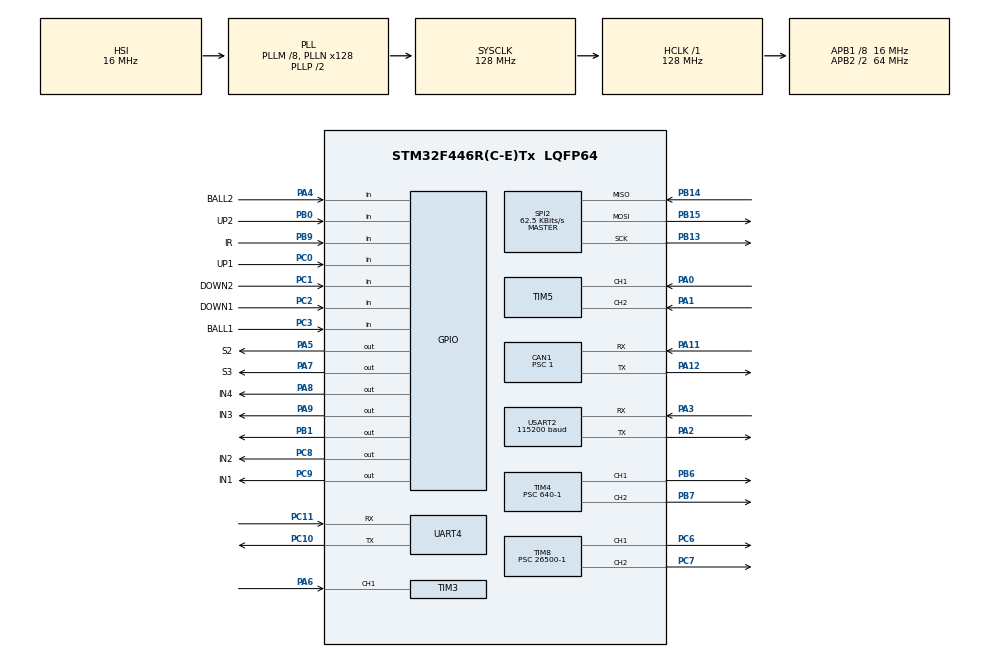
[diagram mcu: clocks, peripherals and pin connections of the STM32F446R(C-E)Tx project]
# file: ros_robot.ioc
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CAN1.BS1=CAN_BS1_13TQ
CAN1.BS2=CAN_BS2_2TQ
CAN1.CalculateBaudRate=1000000
CAN1.CalculateTimeBit=1000
CAN1.CalculateTimeQuantum=62.5
CAN1.NART=ENABLE
CAN1.Prescaler=1
Dma.Request0=USART2_RX
Dma.Request1=USART2_TX
Dma.Request2=UART4_RX
Dma.Request3=UART4_TX
Dma.UART4_RX.2.Direction=DMA_PERIPH_TO_MEMORY
Dma.UART4_RX.2.FIFOMode=DMA_FIFOMODE_DISABLE
Dma.UART4_RX.2.Instance=DMA1_Stream2
Dma.UART4_RX.2.MemDataAlignment=DMA_MDATAALIGN_BYTE
Dma.UART4_RX.2.MemInc=DMA_MINC_ENABLE
Dma.UART4_RX.2.Mode=DMA_CIRCULAR
Dma.UART4_RX.2.PeriphDataAlignment=DMA_PDATAALIGN_BYTE
Dma.UART4_RX.2.PeriphInc=DMA_PINC_DISABLE
Dma.UART4_RX.2.Priority=DMA_PRIORITY_HIGH
Dma.UART4_TX.3.Direction=DMA_MEMORY_TO_PERIPH
Dma.UART4_TX.3.FIFOMode=DMA_FIFOMODE_DISABLE
Dma.UART4_TX.3.Instance=DMA1_Stream4
Dma.UART4_TX.3.MemDataAlignment=DMA_MDATAALIGN_BYTE
Dma.UART4_TX.3.MemInc=DMA_MINC_ENABLE
Dma.UART4_TX.3.Mode=DMA_NORMAL
Dma.UART4_TX.3.PeriphDataAlignment=DMA_PDATAALIGN_BYTE
Dma.UART4_TX.3.PeriphInc=DMA_PINC_DISABLE
Dma.UART4_TX.3.Priority=DMA_PRIORITY_HIGH
Dma.USART2_RX.0.Direction=DMA_PERIPH_TO_MEMORY
Dma.USART2_RX.0.FIFOMode=DMA_FIFOMODE_DISABLE
Dma.USART2_RX.0.Instance=DMA1_Stream5
Dma.USART2_RX.0.MemDataAlignment=DMA_MDATAALIGN_BYTE
Dma.USART2_RX.0.MemInc=DMA_MINC_ENABLE
Dma.USART2_RX.0.Mode=DMA_CIRCULAR
Dma.USART2_RX.0.PeriphDataAlignment=DMA_PDATAALIGN_BYTE
Dma.USART2_RX.0.PeriphInc=DMA_PINC_DISABLE
Dma.USART2_RX.0.Priority=DMA_PRIORITY_HIGH
Dma.USART2_TX.1.Direction=DMA_MEMORY_TO_PERIPH
Dma.USART2_TX.1.FIFOMode=DMA_FIFOMODE_DISABLE
Dma.USART2_TX.1.Instance=DMA1_Stream6
Dma.USART2_TX.1.MemDataAlignment=DMA_MDATAALIGN_BYTE
Dma.USART2_TX.1.MemInc=DMA_MINC_ENABLE
Dma.USART2_TX.1.Mode=DMA_NORMAL
Dma.USART2_TX.1.PeriphDataAlignment=DMA_PDATAALIGN_BYTE
Dma.USART2_TX.1.PeriphInc=DMA_PINC_DISABLE
Dma.USART2_TX.1.Priority=DMA_PRIORITY_HIGH
FREERTOS.INCLUDE_vTaskDelayUntil=1
FREERTOS.Tasks01=WheelControl,0,128,Wheel_task,Default,NULL,Dynamic,NULL,NULL;Joystick,0,2048,task2_joystick,Default,NULL,Dynamic,NULL,NULL;up_down_control,0,512,DC_motor,Default,NULL,Dynamic,NULL,NULL;Target_pos,0,512,Colorcheck,Default,NULL,Dynamic,NULL,NULL;Color,0,128,StartTask05,Default,NULL,Dynamic,NULL,NULL
FREERTOS.configMAX_PRIORITIES=7
Mcu.Family=STM32F4
Mcu.Name=STM32F446R(C-E)Tx
Mcu.Package=LQFP64
NVIC.CAN1_RX0_IRQn=true\:5\:0\:false\:false\:true\:true\:true\:true\:true
NVIC.DMA1_Stream2_IRQn=true\:5\:0\:false\:false\:true\:true\:false\:true\:true
NVIC.DMA1_Stream4_IRQn=true\:5\:0\:false\:false\:true\:true\:false\:true\:true
NVIC.DMA1_Stream5_IRQn=true\:5\:0\:false\:false\:true\:true\:false\:true\:true
NVIC.DMA1_Stream6_IRQn=true\:5\:0\:false\:false\:true\:true\:false\:true\:true
NVIC.PriorityGroup=NVIC_PRIORITYGROUP_4
NVIC.TIM1_UP_TIM10_IRQn=true\:15\:0\:true\:false\:true\:false\:false\:true\:true
NVIC.TIM3_IRQn=true\:5\:0\:false\:false\:true\:true\:true\:true\:true
NVIC.TimeBase=TIM1_UP_TIM10_IRQn
NVIC.TimeBaseIP=TIM1
NVIC.UART4_IRQn=true\:5\:0\:false\:false\:true\:true\:true\:true\:true
NVIC.USART2_IRQn=true\:5\:0\:false\:false\:true\:true\:true\:true\:true
PA0-WKUP.Signal=S_TIM5_CH1
PA1.Signal=S_TIM5_CH2
PA11.Mode=CAN_Activate
PA11.Signal=CAN1_RX
PA12.Mode=CAN_Activate
PA12.Signal=CAN1_TX
PA13.GPIO_Label=TMS
PA13.Mode=Serial_Wire
PA13.Signal=SYS_JTMS-SWDIO
PA14.GPIO_Label=TCK
PA14.Mode=Serial_Wire
PA14.Signal=SYS_JTCK-SWCLK
PA2.GPIO_ModeDefaultPP=GPIO_MODE_AF_PP
PA2.GPIO_PuPd=GPIO_NOPULL
PA2.GPIO_Speed=GPIO_SPEED_FREQ_VERY_HIGH
PA2.Mode=Asynchronous
PA2.Signal=USART2_TX
PA3.GPIO_ModeDefaultPP=GPIO_MODE_AF_PP
PA3.GPIO_PuPd=GPIO_NOPULL
PA3.GPIO_Speed=GPIO_SPEED_FREQ_VERY_HIGH
PA3.Mode=Asynchronous
PA3.Signal=USART2_RX
PA4.GPIO_Label=BALL2
PA4.Signal=GPIO_Input
PA5.GPIO_Label=S2
PA5.Signal=GPIO_Output
PA6.Signal=S_TIM3_CH1
PA7.GPIO_Label=S3
PA7.Signal=GPIO_Output
PA8.GPIO_Label=IN4
PA8.Signal=GPIO_Output
PA9.GPIO_Label=IN3
PA9.Signal=GPIO_Output
PB0.GPIO_Label=UP2
PB0.Signal=GPIO_Input
PB1.Signal=GPIO_Output
PB13.Mode=Full_Duplex_Master
PB13.Signal=SPI2_SCK
PB14.GPIO_PuPd=GPIO_PULLUP
PB14.Mode=Full_Duplex_Master
PB14.Signal=SPI2_MISO
PB15.Mode=Full_Duplex_Master
PB15.Signal=SPI2_MOSI
PB3.GPIO_Label=SWO
PB3.Signal=SYS_JTDO-SWO
PB6.Signal=S_TIM4_CH1
PB7.Signal=S_TIM4_CH2
PB8.Signal=S_TIM2_CH1_ETR
PB9.GPIO_Label=IR
PB9.Signal=GPIO_Input
PC0.GPIO_Label=UP1
PC0.Signal=GPIO_Input
PC1.GPIO_Label=DOWN2
PC1.Signal=GPIO_Input
PC10.Mode=Asynchronous
PC10.Signal=UART4_TX
PC11.Mode=Asynchronous
PC11.Signal=UART4_RX
PC14-OSC32_IN.Mode=LSE-External-Oscillator
PC14-OSC32_IN.Signal=RCC_OSC32_IN
PC15-OSC32_OUT.Mode=LSE-External-Oscillator
PC15-OSC32_OUT.Signal=RCC_OSC32_OUT
PC2.GPIO_Label=DOWN1
PC2.Signal=GPIO_Input
PC3.GPIO_Label=BALL1
PC3.Signal=GPIO_Input
PC6.Signal=S_TIM8_CH1
PC7.Signal=S_TIM8_CH2
PC8.GPIO_Label=IN2
PC8.Signal=GPIO_Output
PC9.GPIO_Label=IN1
PC9.Signal=GPIO_Output
PH0-OSC_IN.Mode=HSE-External-Oscillator
PH0-OSC_IN.Signal=RCC_OSC_IN
PH1-OSC_OUT.Mode=HSE-External-Oscillator
PH1-OSC_OUT.Signal=RCC_OSC_OUT
ProjectManager.HeapSize=0x200
ProjectManager.StackSize=0x400
ProjectManager.TargetToolchain=STM32CubeIDE
RCC.48MHZClocksFreq_Value=84000000
RCC.AHBFreq_Value=128000000
RCC.APB1CLKDivider=RCC_HCLK_DIV8
RCC.APB1Freq_Value=16000000
RCC.APB1TimFreq_Value=32000000
RCC.APB2CLKDivider=RCC_HCLK_DIV2
RCC.APB2Freq_Value=64000000
RCC.APB2TimFreq_Value=128000000
RCC.CortexFreq_Value=128000000
RCC.FLatency-AdvancedSettings=FLASH_LATENCY_4
RCC.HCLKFreq_Value=128000000
RCC.HSE_VALUE=8000000
RCC.HSI_VALUE=16000000
RCC.PLLM=8
RCC.PLLN=128
RCC.SYSCLKFreq_VALUE=128000000
RCC.SYSCLKSource=RCC_SYSCLKSOURCE_PLLCLK
RCC.USBFreq_Value=128000000
RCC.VCOOutputFreq_Value=256000000
SH.S_TIM2_CH1_ETR.0=TIM2_CH1
SH.S_TIM3_CH1.0=TIM3_CH1,Input_Capture1_from_TI1
SH.S_TIM4_CH1.0=TIM4_CH1,PWM Generation1 CH1
SH.S_TIM4_CH2.0=TIM4_CH2,PWM Generation2 CH2
SH.S_TIM5_CH1.0=TIM5_CH1,Encoder_Interface
SH.S_TIM5_CH2.0=TIM5_CH2,Encoder_Interface
SH.S_TIM8_CH1.0=TIM8_CH1,PWM Generation1 CH1
SH.S_TIM8_CH2.0=TIM8_CH2,PWM Generation2 CH2
SPI2.BaudRatePrescaler=SPI_BAUDRATEPRESCALER_256
SPI2.CLKPhase=SPI_PHASE_2EDGE
SPI2.CLKPolarity=SPI_POLARITY_HIGH
SPI2.CalculateBaudRate=62.5 KBits/s
SPI2.DataSize=SPI_DATASIZE_8BIT
SPI2.Direction=SPI_DIRECTION_2LINES
SPI2.FirstBit=SPI_FIRSTBIT_LSB
SPI2.Mode=SPI_MODE_MASTER
SPI2.VirtualType=VM_MASTER
TIM3.Channel-Input_Capture1_from_TI1=TIM_CHANNEL_1
TIM4.Channel-PWM\ Generation1\ CH1=TIM_CHANNEL_1
TIM4.Channel-PWM\ Generation2\ CH2=TIM_CHANNEL_2
TIM4.ClockDivision=TIM_CLOCKDIVISION_DIV1
TIM4.Period=1000-1
TIM4.Prescaler=640-1
TIM4.Pulse-PWM\ Generation1\ CH1=0
TIM4.Pulse-PWM\ Generation2\ CH2=0
TIM5.AutoReloadPreload=TIM_AUTORELOAD_PRELOAD_ENABLE
TIM5.EncoderMode=TIM_ENCODERMODE_TI12
TIM5.IC1Polarity=TIM_ICPOLARITY_FALLING
TIM5.IC2Polarity=TIM_ICPOLARITY_FALLING
TIM8.AutoReloadPreload=TIM_AUTORELOAD_PRELOAD_DISABLE
TIM8.Channel-PWM\ Generation1\ CH1=TIM_CHANNEL_1
TIM8.Channel-PWM\ Generation2\ CH2=TIM_CHANNEL_2
TIM8.ClockDivision=TIM_CLOCKDIVISION_DIV1
TIM8.Period=100-1
TIM8.Prescaler=26500-1
TIM8.Pulse-PWM\ Generation1\ CH1=0
TIM8.Pulse-PWM\ Generation2\ CH2=0
UART4.VirtualMode=Asynchronous
USART2.BaudRate=115200
USART2.VirtualMode=VM_ASYNC
VP_FREERTOS_VS_CMSIS_V1.Mode=CMSIS_V1
VP_SYS_VS_tim1.Mode=TIM1
VP_TIM3_VS_ClockSourceINT.Mode=Internal
VP_TIM4_VS_ClockSourceINT.Mode=Internal
VP_TIM8_VS_ClockSourceINT.Mode=Internal
board=NUCLEO-F446RE

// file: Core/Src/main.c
/* USER CODE BEGIN Header */
/**
  ******************************************************************************
  * @file           : main.c
  * @brief          : Main program body
  ******************************************************************************
  * @attention
  *
  * Copyright (c) 2024 STMicroelectronics.
  * All rights reserved.
  *
  * This software is licensed under terms that can be found in the LICENSE file
  * in the root directory of this software component.
  * If no LICENSE file comes with this software, it is provided AS-IS.
  *
  ******************************************************************************
  */
/* USER CODE END Header */
#include "main.h"
#include "cmsis_os.h"

/* USER CODE BEGIN Includes */
#include "stdio.h"
#include "string.h"
#include "math.h"
#include "stdlib.h"
#include "mainpp.h"
/* USER CODE END Includes */

/* USER CODE BEGIN PTD */
#define CAN1_DEVICE_NUM     4
#define FIRST_GROUP_ID      0x200
#define MOTOR_SPEED_MAX     16384
#define CAN_DATA_SIZE       8
#define CAN1_RX_ID_START    0x201
#define MOTOR_ID            4
#define spi_enable      HAL_GPIO_WritePin(GPIOB, GPIO_PIN_1, GPIO_PIN_RESET)
#define spi_disable     HAL_GPIO_WritePin(GPIOB, GPIO_PIN_1, GPIO_PIN_SET)
/* USER CODE END PTD */

/* USER CODE BEGIN PD */
typedef struct
{
	float KP;
	float KI;
	float KD;
	int error;
	int I_error;
	int D_error;
	int lastError;

} PID_Variables;

typedef struct
{
	int16_t setpoint;
	int16_t Out;
	uint16_t ID;
	int16_t en_speed;
} M3508_Variables;

typedef struct
{
	int LY;
	int LX;
	int RY;
	int RX;
	double X;
	double Y;
}joystick_variables;

typedef struct
{
	int target_pos;
	int32_t my_pos;
	float ControlSignal;
	int PWM;
}DC_Motor;
/* USER CODE END PD */

CAN_HandleTypeDef hcan1;

SPI_HandleTypeDef hspi2;

TIM_HandleTypeDef htim3;
TIM_HandleTypeDef htim4;
TIM_HandleTypeDef htim5;
TIM_HandleTypeDef htim8;

UART_HandleTypeDef huart4;
UART_HandleTypeDef huart2;
DMA_HandleTypeDef hdma_uart4_rx;
DMA_HandleTypeDef hdma_uart4_tx;
DMA_HandleTypeDef hdma_usart2_rx;
DMA_HandleTypeDef hdma_usart2_tx;

osThreadId WheelControlHandle;
osThreadId JoystickHandle;
osThreadId up_down_controlHandle;
osThreadId Target_posHandle;
osThreadId ColorHandle;
/* USER CODE BEGIN PV */

double pi=3.14159265359;
double ML;
double MR;
double speed;
double degree_a;

float freq=0;
float blue_freq;
float red_freq;
float dif=0;
float cTime=0;
float pTime=0;
float dTime=0;

int vel_up=0;
int motor_dir=0;
int is_first=0;
int ic1=0;
int ic2=0;
int red=0;
int blue=0;
int yellow=0;
int flag=0;
int BLDC = 0;
int color_flag=0;
int color_value=0;

uint8_t HC_PS2_RX[9];
uint8_t HC_PS2_TX[9]={0x01, 0x42, 0x00, 0x00, 0x00, 0x00, 0x00, 0x00, 0x00,};
uint8_t RxData[1];
int16_t sensor_buff[5];

uint8_t             data[8];
uint32_t            pTxMailbox;
uint8_t 			rxData[8];
PID_Variables M1_pid;
PID_Variables M2_pid;
PID_Variables M3_pid;
PID_Variables M4_pid;
PID_Variables DC_pid;

M3508_Variables M1;
M3508_Variables M2;
M3508_Variables M3;
M3508_Variables M4;

DC_Motor Motor;
joystick_variables PS2;

CAN_FilterTypeDef sFilterConfig;
CAN_TxHeaderTypeDef txHeader;
CAN_RxHeaderTypeDef rxHeader;

/* USER CODE END PV */

void SystemClock_Config(void);
static void MX_GPIO_Init(void);
static void MX_DMA_Init(void);
static void MX_USART2_UART_Init(void);
static void MX_CAN1_Init(void);
static void MX_UART4_Init(void);
static void MX_SPI2_Init(void);
static void MX_TIM3_Init(void);
static void MX_TIM5_Init(void);
static void MX_TIM8_Init(void);
static void MX_TIM4_Init(void);
void Wheel_task(void const * argument);
void task2_joystick(void const * argument);
void DC_motor(void const * argument);
void Colorcheck(void const * argument);
void StartTask05(void const * argument);

/* USER CODE BEGIN PFP */
void HAL_CAN_RxFifo0MsgPendingCallback(CAN_HandleTypeDef *hcan);
void can_transmit(CAN_HandleTypeDef* hcan1, uint16_t id, int16_t msg1, int16_t msg2, int16_t msg3, int16_t msg4);
void calculatePID(void);
void motorspeed(void);
int Color_Sensor();
/* USER CODE END PFP */

int main(void)
{

  /* MCU Configuration--------------------------------------------------------*/

  /* Reset of all peripherals, Initializes the Flash interface and the Systick. */
  HAL_Init();

  /* Configure the system clock */
  SystemClock_Config();

  /* Initialize all configured peripherals */
  MX_GPIO_Init();
  MX_DMA_Init();
  MX_USART2_UART_Init();
  MX_CAN1_Init();
  MX_UART4_Init();
  MX_SPI2_Init();
  MX_TIM3_Init();
  MX_TIM5_Init();
  MX_TIM8_Init();
  MX_TIM4_Init();
  /* USER CODE BEGIN 2 */

//  HAL_TIM_Encoder_Start_IT(&htim5, TIM_CHANNEL_ALL);
  //HAL_UART_Receive_IT(&huart4, RxData, 1);
  HAL_TIM_Encoder_Start(&htim5, TIM_CHANNEL_ALL);
  HAL_TIM_PWM_Start(&htim4, TIM_CHANNEL_1);
  HAL_TIM_PWM_Start(&htim4, TIM_CHANNEL_2);
//  HAL_TIM_IC_Start_IT(&htim3, TIM_CHANNEL_1);
  HAL_TIM_PWM_Start(&htim8, TIM_CHANNEL_1);
  HAL_TIM_PWM_Start(&htim8, TIM_CHANNEL_2);

  /* USER CODE END 2 */

  /* Create the thread(s) */
  /* definition and creation of WheelControl */
  osThreadDef(WheelControl, Wheel_task, osPriorityNormal, 0, 128);
  WheelControlHandle = osThreadCreate(osThread(WheelControl), NULL);

  /* definition and creation of Joystick */
  osThreadDef(Joystick, task2_joystick, osPriorityNormal, 0, 2048);
  JoystickHandle = osThreadCreate(osThread(Joystick), NULL);

  /* definition and creation of up_down_control */
  osThreadDef(up_down_control, DC_motor, osPriorityNormal, 0, 512);
  up_down_controlHandle = osThreadCreate(osThread(up_down_control), NULL);

  /* definition and creation of Target_pos */
  osThreadDef(Target_pos, Colorcheck, osPriorityNormal, 0, 512);
  Target_posHandle = osThreadCreate(osThread(Target_pos), NULL);

  /* definition and creation of Color */
  osThreadDef(Color, StartTask05, osPriorityNormal, 0, 128);
  ColorHandle = osThreadCreate(osThread(Color), NULL);

  /* Start scheduler */
  osKernelStart();

  /* We should never get here as control is now taken by the scheduler */
  /* Infinite loop */
  while (1)
  {

  }
}

void SystemClock_Config(void)
{
  RCC_OscInitTypeDef RCC_OscInitStruct = {0};
  RCC_ClkInitTypeDef RCC_ClkInitStruct = {0};

  /** Configure the main internal regulator output voltage
  */
  __HAL_RCC_PWR_CLK_ENABLE();
  __HAL_PWR_VOLTAGESCALING_CONFIG(PWR_REGULATOR_VOLTAGE_SCALE2);

  /** Initializes the RCC Oscillators according to the specified parameters
  * in the RCC_OscInitTypeDef structure.
  */
  RCC_OscInitStruct.OscillatorType = RCC_OSCILLATORTYPE_HSI;
  RCC_OscInitStruct.HSIState = RCC_HSI_ON;
  RCC_OscInitStruct.HSICalibrationValue = RCC_HSICALIBRATION_DEFAULT;
  RCC_OscInitStruct.PLL.PLLState = RCC_PLL_ON;
  RCC_OscInitStruct.PLL.PLLSource = RCC_PLLSOURCE_HSI;
  RCC_OscInitStruct.PLL.PLLM = 8;
  RCC_OscInitStruct.PLL.PLLN = 128;
  RCC_OscInitStruct.PLL.PLLP = RCC_PLLP_DIV2;
  RCC_OscInitStruct.PLL.PLLQ = 2;
  RCC_OscInitStruct.PLL.PLLR = 2;
  if (HAL_RCC_OscConfig(&RCC_OscInitStruct) != HAL_OK)
  {
    Error_Handler();
  }

  /** Initializes the CPU, AHB and APB buses clocks
  */
  RCC_ClkInitStruct.ClockType = RCC_CLOCKTYPE_HCLK|RCC_CLOCKTYPE_SYSCLK
                              |RCC_CLOCKTYPE_PCLK1|RCC_CLOCKTYPE_PCLK2;
  RCC_ClkInitStruct.SYSCLKSource = RCC_SYSCLKSOURCE_PLLCLK;
  RCC_ClkInitStruct.AHBCLKDivider = RCC_SYSCLK_DIV1;
  RCC_ClkInitStruct.APB1CLKDivider = RCC_HCLK_DIV8;
  RCC_ClkInitStruct.APB2CLKDivider = RCC_HCLK_DIV2;

  if (HAL_RCC_ClockConfig(&RCC_ClkInitStruct, FLASH_LATENCY_4) != HAL_OK)
  {
    Error_Handler();
  }
}

static void MX_CAN1_Init(void)
{

  hcan1.Instance = CAN1;
  hcan1.Init.Prescaler = 1;
  hcan1.Init.Mode = CAN_MODE_NORMAL;
  hcan1.Init.SyncJumpWidth = CAN_SJW_1TQ;
  hcan1.Init.TimeSeg1 = CAN_BS1_13TQ;
  hcan1.Init.TimeSeg2 = CAN_BS2_2TQ;
  hcan1.Init.TimeTriggeredMode = DISABLE;
  hcan1.Init.AutoBusOff = DISABLE;
  hcan1.Init.AutoWakeUp = DISABLE;
  hcan1.Init.AutoRetransmission = ENABLE;
  hcan1.Init.ReceiveFifoLocked = DISABLE;
  hcan1.Init.TransmitFifoPriority = DISABLE;
  if (HAL_CAN_Init(&hcan1) != HAL_OK)
  {
    Error_Handler();
  }
  /* USER CODE BEGIN CAN1_Init 2 */
  M1.ID=0x201;
  M2.ID=0X202;
  M3.ID=0x203;
  M4.ID=0x204;
  sFilterConfig.FilterBank = 0;
  sFilterConfig.FilterMode = CAN_FILTERMODE_IDMASK;
  sFilterConfig.FilterScale = CAN_FILTERSCALE_32BIT;
  sFilterConfig.FilterIdHigh = 0x205;
  sFilterConfig.FilterIdLow = 0x200;
  sFilterConfig.FilterMaskIdHigh = 0x0000;
  sFilterConfig.FilterMaskIdLow = 0x0000;
  sFilterConfig.FilterFIFOAssignment = CAN_RX_FIFO0;
  sFilterConfig.FilterActivation = ENABLE;
  sFilterConfig.SlaveStartFilterBank = 14;
  if (HAL_CAN_ConfigFilter(&hcan1, &sFilterConfig) != HAL_OK) {
    	Error_Handler();
  }

  if (HAL_CAN_Start(&hcan1) != HAL_OK) {
    	Error_Handler();
  }

  if (HAL_CAN_ActivateNotification(&hcan1, CAN_IT_RX_FIFO0_MSG_PENDING) != HAL_OK) {
    	Error_Handler();
  }

  /* USER CODE END CAN1_Init 2 */

}

static void MX_SPI2_Init(void)
{

  /* SPI2 parameter configuration*/
  hspi2.Instance = SPI2;
  hspi2.Init.Mode = SPI_MODE_MASTER;
  hspi2.Init.Direction = SPI_DIRECTION_2LINES;
  hspi2.Init.DataSize = SPI_DATASIZE_8BIT;
  hspi2.Init.CLKPolarity = SPI_POLARITY_HIGH;
  hspi2.Init.CLKPhase = SPI_PHASE_2EDGE;
  hspi2.Init.NSS = SPI_NSS_SOFT;
  hspi2.Init.BaudRatePrescaler = SPI_BAUDRATEPRESCALER_256;
  hspi2.Init.FirstBit = SPI_FIRSTBIT_LSB;
  hspi2.Init.TIMode = SPI_TIMODE_DISABLE;
  hspi2.Init.CRCCalculation = SPI_CRCCALCULATION_DISABLE;
  hspi2.Init.CRCPolynomial = 10;
  if (HAL_SPI_Init(&hspi2) != HAL_OK)
  {
    Error_Handler();
  }

}

static void MX_TIM3_Init(void)
{

  TIM_ClockConfigTypeDef sClockSourceConfig = {0};
  TIM_MasterConfigTypeDef sMasterConfig = {0};
  TIM_IC_InitTypeDef sConfigIC = {0};

  htim3.Instance = TIM3;
  htim3.Init.Prescaler = 0;
  htim3.Init.CounterMode = TIM_COUNTERMODE_UP;
  htim3.Init.Period = 65535;
  htim3.Init.ClockDivision = TIM_CLOCKDIVISION_DIV1;
  htim3.Init.AutoReloadPreload = TIM_AUTORELOAD_PRELOAD_DISABLE;
  if (HAL_TIM_Base_Init(&htim3) != HAL_OK)
  {
    Error_Handler();
  }
  sClockSourceConfig.ClockSource = TIM_CLOCKSOURCE_INTERNAL;
  if (HAL_TIM_ConfigClockSource(&htim3, &sClockSourceConfig) != HAL_OK)
  {
    Error_Handler();
  }
  if (HAL_TIM_IC_Init(&htim3) != HAL_OK)
  {
    Error_Handler();
  }
  sMasterConfig.MasterOutputTrigger = TIM_TRGO_RESET;
  sMasterConfig.MasterSlaveMode = TIM_MASTERSLAVEMODE_DISABLE;
  if (HAL_TIMEx_MasterConfigSynchronization(&htim3, &sMasterConfig) != HAL_OK)
  {
    Error_Handler();
  }
  sConfigIC.ICPolarity = TIM_INPUTCHANNELPOLARITY_RISING;
  sConfigIC.ICSelection = TIM_ICSELECTION_DIRECTTI;
  sConfigIC.ICPrescaler = TIM_ICPSC_DIV1;
  sConfigIC.ICFilter = 0;
  if (HAL_TIM_IC_ConfigChannel(&htim3, &sConfigIC, TIM_CHANNEL_1) != HAL_OK)
  {
    Error_Handler();
  }

}

static void MX_TIM4_Init(void)
{

  TIM_ClockConfigTypeDef sClockSourceConfig = {0};
  TIM_MasterConfigTypeDef sMasterConfig = {0};
  TIM_OC_InitTypeDef sConfigOC = {0};

  htim4.Instance = TIM4;
  htim4.Init.Prescaler = 640-1;
  htim4.Init.CounterMode = TIM_COUNTERMODE_UP;
  htim4.Init.Period = 1000-1;
  htim4.Init.ClockDivision = TIM_CLOCKDIVISION_DIV1;
  htim4.Init.AutoReloadPreload = TIM_AUTORELOAD_PRELOAD_DISABLE;
  if (HAL_TIM_Base_Init(&htim4) != HAL_OK)
  {
    Error_Handler();
  }
  sClockSourceConfig.ClockSource = TIM_CLOCKSOURCE_INTERNAL;
  if (HAL_TIM_ConfigClockSource(&htim4, &sClockSourceConfig) != HAL_OK)
  {
    Error_Handler();
  }
  if (HAL_TIM_PWM_Init(&htim4) != HAL_OK)
  {
    Error_Handler();
  }
  sMasterConfig.MasterOutputTrigger = TIM_TRGO_RESET;
  sMasterConfig.MasterSlaveMode = TIM_MASTERSLAVEMODE_DISABLE;
  if (HAL_TIMEx_MasterConfigSynchronization(&htim4, &sMasterConfig) != HAL_OK)
  {
    Error_Handler();
  }
  sConfigOC.OCMode = TIM_OCMODE_PWM1;
  sConfigOC.Pulse = 0;
  sConfigOC.OCPolarity = TIM_OCPOLARITY_HIGH;
  sConfigOC.OCFastMode = TIM_OCFAST_DISABLE;
  if (HAL_TIM_PWM_ConfigChannel(&htim4, &sConfigOC, TIM_CHANNEL_1) != HAL_OK)
  {
    Error_Handler();
  }
  if (HAL_TIM_PWM_ConfigChannel(&htim4, &sConfigOC, TIM_CHANNEL_2) != HAL_OK)
  {
    Error_Handler();
  }
  HAL_TIM_MspPostInit(&htim4);

}

static void MX_TIM5_Init(void)
{

  TIM_Encoder_InitTypeDef sConfig = {0};
  TIM_MasterConfigTypeDef sMasterConfig = {0};

  htim5.Instance = TIM5;
  htim5.Init.Prescaler = 0;
  htim5.Init.CounterMode = TIM_COUNTERMODE_UP;
  htim5.Init.Period = 4294967295;
  htim5.Init.ClockDivision = TIM_CLOCKDIVISION_DIV1;
  htim5.Init.AutoReloadPreload = TIM_AUTORELOAD_PRELOAD_ENABLE;
  sConfig.EncoderMode = TIM_ENCODERMODE_TI12;
  sConfig.IC1Polarity = TIM_ICPOLARITY_FALLING;
  sConfig.IC1Selection = TIM_ICSELECTION_DIRECTTI;
  sConfig.IC1Prescaler = TIM_ICPSC_DIV1;
  sConfig.IC1Filter = 0;
  sConfig.IC2Polarity = TIM_ICPOLARITY_FALLING;
  sConfig.IC2Selection = TIM_ICSELECTION_DIRECTTI;
  sConfig.IC2Prescaler = TIM_ICPSC_DIV1;
  sConfig.IC2Filter = 0;
  if (HAL_TIM_Encoder_Init(&htim5, &sConfig) != HAL_OK)
  {
    Error_Handler();
  }
  sMasterConfig.MasterOutputTrigger = TIM_TRGO_RESET;
  sMasterConfig.MasterSlaveMode = TIM_MASTERSLAVEMODE_DISABLE;
  if (HAL_TIMEx_MasterConfigSynchronization(&htim5, &sMasterConfig) != HAL_OK)
  {
    Error_Handler();
  }

}

static void MX_TIM8_Init(void)
{

  TIM_ClockConfigTypeDef sClockSourceConfig = {0};
  TIM_MasterConfigTypeDef sMasterConfig = {0};
  TIM_OC_InitTypeDef sConfigOC = {0};
  TIM_BreakDeadTimeConfigTypeDef sBreakDeadTimeConfig = {0};

  htim8.Instance = TIM8;
  htim8.Init.Prescaler = 26500-1;
  htim8.Init.CounterMode = TIM_COUNTERMODE_UP;
  htim8.Init.Period = 100-1;
  htim8.Init.ClockDivision = TIM_CLOCKDIVISION_DIV1;
  htim8.Init.RepetitionCounter = 0;
  htim8.Init.AutoReloadPreload = TIM_AUTORELOAD_PRELOAD_DISABLE;
  if (HAL_TIM_Base_Init(&htim8) != HAL_OK)
  {
    Error_Handler();
  }
  sClockSourceConfig.ClockSource = TIM_CLOCKSOURCE_INTERNAL;
  if (HAL_TIM_ConfigClockSource(&htim8, &sClockSourceConfig) != HAL_OK)
  {
    Error_Handler();
  }
  if (HAL_TIM_PWM_Init(&htim8) != HAL_OK)
  {
    Error_Handler();
  }
  sMasterConfig.MasterOutputTrigger = TIM_TRGO_RESET;
  sMasterConfig.MasterSlaveMode = TIM_MASTERSLAVEMODE_DISABLE;
  if (HAL_TIMEx_MasterConfigSynchronization(&htim8, &sMasterConfig) != HAL_OK)
  {
    Error_Handler();
  }
  sConfigOC.OCMode = TIM_OCMODE_PWM1;
  sConfigOC.Pulse = 0;
  sConfigOC.OCPolarity = TIM_OCPOLARITY_HIGH;
  sConfigOC.OCNPolarity = TIM_OCNPOLARITY_HIGH;
  sConfigOC.OCFastMode = TIM_OCFAST_DISABLE;
  sConfigOC.OCIdleState = TIM_OCIDLESTATE_RESET;
  sConfigOC.OCNIdleState = TIM_OCNIDLESTATE_RESET;
  if (HAL_TIM_PWM_ConfigChannel(&htim8, &sConfigOC, TIM_CHANNEL_1) != HAL_OK)
  {
    Error_Handler();
  }
  if (HAL_TIM_PWM_ConfigChannel(&htim8, &sConfigOC, TIM_CHANNEL_2) != HAL_OK)
  {
    Error_Handler();
  }
  sBreakDeadTimeConfig.OffStateRunMode = TIM_OSSR_DISABLE;
  sBreakDeadTimeConfig.OffStateIDLEMode = TIM_OSSI_DISABLE;
  sBreakDeadTimeConfig.LockLevel = TIM_LOCKLEVEL_OFF;
  sBreakDeadTimeConfig.DeadTime = 0;
  sBreakDeadTimeConfig.BreakState = TIM_BREAK_DISABLE;
  sBreakDeadTimeConfig.BreakPolarity = TIM_BREAKPOLARITY_HIGH;
  sBreakDeadTimeConfig.AutomaticOutput = TIM_AUTOMATICOUTPUT_DISABLE;
  if (HAL_TIMEx_ConfigBreakDeadTime(&htim8, &sBreakDeadTimeConfig) != HAL_OK)
  {
    Error_Handler();
  }
  HAL_TIM_MspPostInit(&htim8);

}

static void MX_UART4_Init(void)
{

  huart4.Instance = UART4;
  huart4.Init.BaudRate = 115200;
  huart4.Init.WordLength = UART_WORDLENGTH_8B;
  huart4.Init.StopBits = UART_STOPBITS_1;
  huart4.Init.Parity = UART_PARITY_NONE;
  huart4.Init.Mode = UART_MODE_TX_RX;
  huart4.Init.HwFlowCtl = UART_HWCONTROL_NONE;
  huart4.Init.OverSampling = UART_OVERSAMPLING_16;
  if (HAL_UART_Init(&huart4) != HAL_OK)
  {
    Error_Handler();
  }

}

static void MX_USART2_UART_Init(void)
{

  huart2.Instance = USART2;
  huart2.Init.BaudRate = 115200;
  huart2.Init.WordLength = UART_WORDLENGTH_8B;
  huart2.Init.StopBits = UART_STOPBITS_1;
  huart2.Init.Parity = UART_PARITY_NONE;
  huart2.Init.Mode = UART_MODE_TX_RX;
  huart2.Init.HwFlowCtl = UART_HWCONTROL_NONE;
  huart2.Init.OverSampling = UART_OVERSAMPLING_16;
  if (HAL_UART_Init(&huart2) != HAL_OK)
  {
    Error_Handler();
  }

}

static void MX_DMA_Init(void)
{

  /* DMA controller clock enable */
  __HAL_RCC_DMA1_CLK_ENABLE();

  /* DMA interrupt init */
  /* DMA1_Stream2_IRQn interrupt configuration */
  HAL_NVIC_SetPriority(DMA1_Stream2_IRQn, 5, 0);
  HAL_NVIC_EnableIRQ(DMA1_Stream2_IRQn);
  /* DMA1_Stream4_IRQn interrupt configuration */
  HAL_NVIC_SetPriority(DMA1_Stream4_IRQn, 5, 0);
  HAL_NVIC_EnableIRQ(DMA1_Stream4_IRQn);
  /* DMA1_Stream5_IRQn interrupt configuration */
  HAL_NVIC_SetPriority(DMA1_Stream5_IRQn, 5, 0);
  HAL_NVIC_EnableIRQ(DMA1_Stream5_IRQn);
  /* DMA1_Stream6_IRQn interrupt configuration */
  HAL_NVIC_SetPriority(DMA1_Stream6_IRQn, 5, 0);
  HAL_NVIC_EnableIRQ(DMA1_Stream6_IRQn);

}

static void MX_GPIO_Init(void)
{
  GPIO_InitTypeDef GPIO_InitStruct = {0};

  /* GPIO Ports Clock Enable */
  __HAL_RCC_GPIOC_CLK_ENABLE();
  __HAL_RCC_GPIOH_CLK_ENABLE();
  __HAL_RCC_GPIOA_CLK_ENABLE();
  __HAL_RCC_GPIOB_CLK_ENABLE();

  /*Configure GPIO pin Output Level */
  HAL_GPIO_WritePin(GPIOA, S2_Pin|S3_Pin|IN4_Pin|IN3_Pin, GPIO_PIN_RESET);

  /*Configure GPIO pin Output Level */
  HAL_GPIO_WritePin(GPIOB, GPIO_PIN_1, GPIO_PIN_RESET);

  /*Configure GPIO pin Output Level */
  HAL_GPIO_WritePin(GPIOC, IN2_Pin|IN1_Pin, GPIO_PIN_RESET);

  /*Configure GPIO pins : UP1_Pin DOWN2_Pin DOWN1_Pin BALL1_Pin */
  GPIO_InitStruct.Pin = UP1_Pin|DOWN2_Pin|DOWN1_Pin|BALL1_Pin;
  GPIO_InitStruct.Mode = GPIO_MODE_INPUT;
  GPIO_InitStruct.Pull = GPIO_NOPULL;
  HAL_GPIO_Init(GPIOC, &GPIO_InitStruct);

  /*Configure GPIO pin : BALL2_Pin */
  GPIO_InitStruct.Pin = BALL2_Pin;
  GPIO_InitStruct.Mode = GPIO_MODE_INPUT;
  GPIO_InitStruct.Pull = GPIO_NOPULL;
  HAL_GPIO_Init(BALL2_GPIO_Port, &GPIO_InitStruct);

  /*Configure GPIO pins : S2_Pin S3_Pin IN4_Pin IN3_Pin */
  GPIO_InitStruct.Pin = S2_Pin|S3_Pin|IN4_Pin|IN3_Pin;
  GPIO_InitStruct.Mode = GPIO_MODE_OUTPUT_PP;
  GPIO_InitStruct.Pull = GPIO_NOPULL;
  GPIO_InitStruct.Speed = GPIO_SPEED_FREQ_LOW;
  HAL_GPIO_Init(GPIOA, &GPIO_InitStruct);

  /*Configure GPIO pins : UP2_Pin IR_Pin */
  GPIO_InitStruct.Pin = UP2_Pin|IR_Pin;
  GPIO_InitStruct.Mode = GPIO_MODE_INPUT;
  GPIO_InitStruct.Pull = GPIO_NOPULL;
  HAL_GPIO_Init(GPIOB, &GPIO_InitStruct);

  /*Configure GPIO pin : PB1 */
  GPIO_InitStruct.Pin = GPIO_PIN_1;
  GPIO_InitStruct.Mode = GPIO_MODE_OUTPUT_PP;
  GPIO_InitStruct.Pull = GPIO_NOPULL;
  GPIO_InitStruct.Speed = GPIO_SPEED_FREQ_LOW;
  HAL_GPIO_Init(GPIOB, &GPIO_InitStruct);

  /*Configure GPIO pins : IN2_Pin IN1_Pin */
  GPIO_InitStruct.Pin = IN2_Pin|IN1_Pin;
  GPIO_InitStruct.Mode = GPIO_MODE_OUTPUT_PP;
  GPIO_InitStruct.Pull = GPIO_NOPULL;
  GPIO_InitStruct.Speed = GPIO_SPEED_FREQ_LOW;
  HAL_GPIO_Init(GPIOC, &GPIO_InitStruct);

  /*Configure GPIO pin : PB8 */
  GPIO_InitStruct.Pin = GPIO_PIN_8;
  GPIO_InitStruct.Mode = GPIO_MODE_AF_PP;
  GPIO_InitStruct.Pull = GPIO_NOPULL;
  GPIO_InitStruct.Speed = GPIO_SPEED_FREQ_LOW;
  GPIO_InitStruct.Alternate = GPIO_AF1_TIM2;
  HAL_GPIO_Init(GPIOB, &GPIO_InitStruct);

}

/* USER CODE BEGIN 4 */
void HAL_TIM_IC_CaptureCallback(TIM_HandleTypeDef *htim)
{
//	if(htim->Instance==TIM5){
//		Motor.my_pos = ((int32_t)__HAL_TIM_GET_COUNTER(htim)) / 100;
//	}
	if(htim-> Instance == TIM3){
		  if(is_first == 0){
			  ic1 = HAL_TIM_ReadCapturedValue(htim, TIM_CHANNEL_1);
			  is_first = 1;
		  }
		  else{
			  ic2 = HAL_TIM_ReadCapturedValue(htim, TIM_CHANNEL_1);
			  if(ic2>ic1)
			  {
				  dif = ic2 - ic1;
			  }
			  else if(ic1>ic2){
				  dif = (0xffffffff-ic1) + ic2;
			  }
			  freq = 1000/dif;
//			  if(freq>50 && freq<95){
//				  blue = 1;
//			  }else
//				  blue =0;
////			  HAL_Delay(500);
//			  __HAL_TIM_SET_COUNTER(htim, 0);
			  is_first = 0;
		  }

	}
}

void MotorUp(void)
{
	HAL_GPIO_WritePin(IN1_GPIO_Port, IN1_Pin, GPIO_PIN_SET);
	HAL_GPIO_WritePin(IN2_GPIO_Port, IN2_Pin, GPIO_PIN_RESET);
}

void MotorDown(void)
{
	HAL_GPIO_WritePin(IN1_GPIO_Port, IN1_Pin, GPIO_PIN_RESET);
	HAL_GPIO_WritePin(IN2_GPIO_Port, IN2_Pin, GPIO_PIN_SET);
}

void MotorStop(void)
{
	TIM8 -> CCR1 = 1;
	HAL_GPIO_WritePin(IN1_GPIO_Port, IN1_Pin, GPIO_PIN_SET);
	HAL_GPIO_WritePin(IN2_GPIO_Port, IN2_Pin, GPIO_PIN_SET);
}

void calculatePID()
{
	cTime = HAL_GetTick();
	Motor.my_pos = ((int32_t)TIM5->CNT)/100;
	dTime = (cTime - pTime)/10000;
	DC_pid.error = Motor.target_pos - Motor.my_pos;
	DC_pid.I_error += (DC_pid.error * dTime);
	DC_pid.D_error = (DC_pid.error - DC_pid.lastError)/dTime;
	Motor.ControlSignal = (DC_pid.KP*DC_pid.error) + (DC_pid.I_error*DC_pid.KI) + (DC_pid.D_error*DC_pid.KD);
	HAL_Delay(1);
	pTime = cTime;
	DC_pid.lastError = DC_pid.error;
}

void motorspeed(){
	if(Motor.ControlSignal<0)
		motor_dir = -1;
	else if(Motor.ControlSignal>0)
		motor_dir = 1;
	else
		motor_dir = 0;
	Motor.PWM = (int)fabs(Motor.ControlSignal);
	if(Motor.PWM > 120)
		TIM8 -> CCR1 = 1;
//	TIM8 -> CCR2 = 50;
	if(Motor.PWM < 120 && DC_pid.error != 0){
		TIM8 -> CCR1 = 60;
	}
	if(motor_dir == 1){
		MotorUp();
	}else if(motor_dir == (-1)){
		MotorDown();
	}else{
		MotorStop();
	}
}
int Color_Sensor(){
	HAL_GPIO_WritePin(S3_GPIO_Port, S3_Pin, SET);
	HAL_GPIO_WritePin(S2_GPIO_Port, S2_Pin, RESET);
	// blue check
	color_flag=1;
	HAL_TIM_IC_Start_IT(&htim3, TIM_CHANNEL_1);
	HAL_Delay(10);
	blue_freq=freq;
	color_flag=0;
	HAL_GPIO_WritePin(S3_GPIO_Port, S3_Pin, RESET);
	HAL_GPIO_WritePin(S2_GPIO_Port, S2_Pin, RESET);
	HAL_Delay(10);
	red_freq=freq;
	HAL_TIM_IC_Stop_IT(&htim3, TIM_CHANNEL_1);
	if(blue_freq>=0.3 && red_freq<=0.2){
		//blue ball
		color_flag=1;
	}
	if(red_freq>=0.3 && blue_freq<=0.2){
		//red ball
		color_flag=1;
	}
	if((red_freq>=0.2 && red_freq<=0.35) && (blue_freq>=0.2 && blue_freq<=0.35)){
		// purple ball
		color_flag=0;
	}
	return color_flag;

}
void HAL_CAN_RxFifo0MsgPendingCallback(CAN_HandleTypeDef *hcan) {
//	uint8_t rxData[8];
	HAL_CAN_GetRxMessage(&hcan1, CAN_RX_FIFO0, &rxHeader, rxData);
	if(rxHeader.StdId == 0x201){
		M1.en_speed = rxData[2] << 8;
		M1.en_speed = M1.en_speed + rxData[3];
		M1.en_speed = M1.en_speed * 1.5;
	}
	if(rxHeader.StdId == 0x202){
		M2.en_speed = rxData[2] << 8;
		M2.en_speed = M2.en_speed + rxData[3];
		M2.en_speed = M2.en_speed * 1.5;
	}
	if(rxHeader.StdId == 0x203){
		M3.en_speed = rxData[2] << 8;
		M3.en_speed = M3.en_speed + rxData[3];
		M3.en_speed = M3.en_speed * 1.5;
	}
	if(rxHeader.StdId == 0x204){
		M4.en_speed = rxData[2] << 8;
		M4.en_speed = M4.en_speed + rxData[3];
		M4.en_speed = M4.en_speed * 1.5;
		vel_up = 1;
	}
}
void can_transmit(CAN_HandleTypeDef* hcan, uint16_t id, int16_t msg1, int16_t msg2, int16_t msg3, int16_t msg4){
    CAN_TxHeaderTypeDef tx_header;
//    uint8_t             data[8];
//    uint32_t            pTxMailbox;

    tx_header.StdId = id;
    tx_header.IDE   = CAN_ID_STD;
    tx_header.RTR   = CAN_RTR_DATA;
    tx_header.DLC   = CAN_DATA_SIZE;
    tx_header.TransmitGlobalTime = DISABLE;
    data[0] = msg1 >> 8;
    data[1] = msg1;
    data[2] = msg2 >> 8;
    data[3] = msg2;
    data[4] = msg3 >> 8;
    data[5] = msg3;
    data[6] = msg4 >> 8;
    data[7] = msg4;

    if (HAL_CAN_AddTxMessage(hcan, &tx_header, data, &pTxMailbox) == HAL_OK){
        while (HAL_CAN_IsTxMessagePending(hcan, pTxMailbox));
    }
}
/* USER CODE END 4 */

void Wheel_task(void const * argument)
{
  /* USER CODE BEGIN 5 */
	M1_pid.KP = 1.5;
	M1_pid.KI = 0.0005;
	M1_pid.KD = 0.01;

	M2_pid.KP = 1.5;
	M2_pid.KI = 0.0005;
	M2_pid.KD = 0.01;

	M3_pid.KP = 1.5;
	M3_pid.KI = 0.0005;
	M3_pid.KD = 0.01;

	M4_pid.KP = 1.5;
	M4_pid.KI = 0.0005;
	M4_pid.KD = 0.01;
  /* Infinite loop */
  for(;;)
  {

  if(vel_up==1){
	  vel_up=0;
		  M1_pid.error=M1.setpoint-M1.en_speed;
		  M1_pid.I_error+=M1_pid.error;
		  M1_pid.D_error=M1_pid.lastError-M1_pid.error;
		  M1_pid.lastError=M1_pid.error;
		  M1.Out=M1_pid.KP*M1_pid.error+M1_pid.KI*M1_pid.I_error+M1_pid.KD*M1_pid.D_error;

		  M2_pid.error=M2.setpoint-M2.en_speed;
		  M2_pid.I_error+=M2_pid.error;
		  M2_pid.D_error=M2_pid.lastError-M2_pid.error;
		  M2_pid.lastError=M2_pid.error;
		  M2.Out=M2_pid.KP*M2_pid.error+M2_pid.KI*M2_pid.I_error+M2_pid.KD*M2_pid.D_error;

		  M3_pid.error=M3.setpoint-M3.en_speed;
		  M3_pid.I_error+=M3_pid.error;
		  M3_pid.D_error=M3_pid.lastError-M3_pid.error;
		  M3_pid.lastError=M3_pid.error;
		  M3.Out=M3_pid.KP*M3_pid.error+M3_pid.KI*M3_pid.I_error+M3_pid.KD*M3_pid.D_error;

		  M4_pid.error=M4.setpoint-M4.en_speed;
		  M4_pid.I_error+=M4_pid.error;
		  M4_pid.D_error=M4_pid.lastError-M4_pid.error;
		  M4_pid.lastError=M4_pid.error;
		  M4.Out=M4_pid.KP*M4_pid.error+M4_pid.KI*M4_pid.I_error+M4_pid.KD*M4_pid.D_error;

		  can_transmit(&hcan1, FIRST_GROUP_ID, M1.Out, M2.Out, M3.Out, M4.Out);
 }

    osDelay(1);
  }
  /* USER CODE END 5 */
}

void task2_joystick(void const * argument)
{
  /* USER CODE BEGIN task2_joystick */

  /* Infinite loop */
  for(;;)
  {
	  spi_enable;
	  HAL_SPI_TransmitReceive(&hspi2, HC_PS2_TX, HC_PS2_RX, 9, 10);
	  spi_disable;
	  PS2.LY=-(HC_PS2_RX[8]-127);
	  PS2.LX=(HC_PS2_RX[7]-127);
	  PS2.RY=HC_PS2_RX[6]-128;
	  PS2.RX=HC_PS2_RX[5]-128;
	  PS2.X=PS2.LX/(float)128;
	  PS2.Y=PS2.LY/(float)128;
	  speed=sqrt(PS2.X*PS2.X+PS2.Y*PS2.Y);
	  degree_a=atan2(PS2.Y,PS2.X);
	  ML=sin(degree_a-pi/4)*speed*MOTOR_SPEED_MAX;
	  MR=cos(degree_a-pi/4)*speed*MOTOR_SPEED_MAX;
	  if(HC_PS2_RX[4]==251){
		  BLDC = 1;
	  }else if(HC_PS2_RX[4]==254){
		  BLDC = 2;
	  }else if(HC_PS2_RX[4]==247){
		  yellow=1;
		  Motor.target_pos = 1820;
	  }else if(HC_PS2_RX[4]==253){
		  yellow=2;
		  Motor.target_pos = 0;
	  }
	  if((abs(PS2.LY) > 5 || abs(PS2.LX)>5 )&& abs(PS2.RX)<=5){
		  if(ML>12000 || MR>12000){
			  if(ML > MR){
				  MR=MR/ML*12000;
				  ML=12000;

			  }
			  else{
				  ML=(ML/MR)*12000;
				  MR=12000;
			  }
		  }
		  else if(ML<-12000 || MR<-12000){
			  if(ML < MR){
				  MR=-MR/ML*12000;
				  ML=-12000;

			  }
			  else{
				  ML=-ML/MR*12000;
				  MR=-12000;
			  }
		  }
		  else if(ML>12000 || MR<-12000){
			  if(ML > -MR){
				  MR=MR/ML*12000;
				  ML=12000;

			  }
			  else{
				  ML=-ML/MR*12000;
				  MR=-12000;
			  }
		  }
		  else if(MR>12000 || ML<-12000){
			  if(MR > -ML){
				  ML=ML/MR*12000;
				  MR=12000;

			  }
			  else{
				  MR=-MR/ML*12000;
				  ML=-12000;
			  }
		  }
		  M1.setpoint=-MR;
		  M2.setpoint=ML;
		  M4.setpoint=-ML;
		  M3.setpoint=MR;
	  }
	  else if(abs(PS2.LY)<=5 && abs(PS2.LX)<=5 && abs(PS2.RX)>5){
		  M1.setpoint=-MOTOR_SPEED_MAX*PS2.RX/500;
		  M2.setpoint=-MOTOR_SPEED_MAX*PS2.RX/500;
		  M3.setpoint=-MOTOR_SPEED_MAX*PS2.RX/500;
		  M4.setpoint=-MOTOR_SPEED_MAX*PS2.RX/500;
	  }
	  else if((abs(PS2.LY)>5 || abs(PS2.LX)>5) && abs(PS2.RX)>5){
		  PS2.X=PS2.LX/(float)128;
		  PS2.Y=PS2.LY/(float)128;
		  speed=sqrt(PS2.X*PS2.X+PS2.Y*PS2.Y);
//			  if(speed>=1){
////				  speed=sign(speed);
//				  speed=1;
//			  }
//			  if(speed<=-1){
//				  speed=-1;
//			  }
		  degree_a=atan2(PS2.Y,PS2.X);
		  ML=sin(degree_a-pi/4)*speed*MOTOR_SPEED_MAX;
		  MR=cos(degree_a-pi/4)*speed*MOTOR_SPEED_MAX;
		  if(ML>12000 || MR>12000){
			  if(ML > MR){
				  MR=MR/ML*12000;
				  ML=12000;

			  }
			  else{
				  ML=ML/MR*12000;
				  MR=12000;
			  }
		  }
		  else if(ML<-12000 || MR<-12000){
			  if(ML < MR){
				  MR=-MR/ML*12000;
				  ML=-12000;

			  }
			  else{
				  ML=-ML/MR*12000;
				  MR=-12000;
			  }
		  }
		  else if(ML>12000 || MR<-12000){
			  if(ML > -MR){
				  MR=MR/ML*12000;
				  ML=12000;

			  }
			  else{
				  ML=-ML/MR*12000;
				  MR=-12000;
			  }
		  }
		  else if(MR>12000 || ML<-12000){
			  if(MR > -ML){
				  ML=ML/MR*12000;
				  MR=12000;

			  }
			  else{
				  MR=-MR/ML*12000;
				  ML=-12000;
			  }
		  }
		  M1.setpoint=-MR;
		  M2.setpoint=ML;
		  M4.setpoint=-ML;
		  M3.setpoint=MR;
		  M1.setpoint=M1.setpoint-(MOTOR_SPEED_MAX*PS2.RX/800);
		  M2.setpoint=M2.setpoint-(MOTOR_SPEED_MAX*PS2.RX/800);
		  M3.setpoint=M3.setpoint-(MOTOR_SPEED_MAX*PS2.RX/800);
		  M4.setpoint=M4.setpoint-(MOTOR_SPEED_MAX*PS2.RX/800);
	  }
	  else{
		  M1.setpoint=0;
		  M2.setpoint=0;
		  M3.setpoint=0;
		  M4.setpoint=0;
	  }
      osDelay(10);
  }
  /* USER CODE END task2_joystick */
}

void DC_motor(void const * argument)
{
  /* USER CODE BEGIN DC_motor */
	DC_pid.error = 0;
	HAL_GPIO_WritePin(S2_GPIO_Port, S2_Pin, GPIO_PIN_RESET);
	HAL_GPIO_WritePin(S3_GPIO_Port, S3_Pin, GPIO_PIN_SET);
	TIM4->CCR1=920;
	TIM4->CCR2=920;
//	TIM8 -> CCR1 = 99;
  /* Infinite loop */
  for(;;)
  {
		if(BLDC==1 || flag==1){
			TIM4->CCR1 = 930;
			TIM4->CCR2 = 909;
			flag = 1;
			//HAL_Delay(500);
			if((HAL_GPIO_ReadPin(BALL1_GPIO_Port, BALL1_Pin)==0) || (HAL_GPIO_ReadPin(BALL2_GPIO_Port, BALL2_Pin)==0)){
				TIM4->CCR1 = 920;
				TIM4->CCR2 = 920;
//				HAL_Delay(2000);
//				Motor.target_pos = 890;
//				HAL_GPIO_WritePin(S3_GPIO_Port, S3_Pin, SET);
//				HAL_GPIO_WritePin(S2_GPIO_Port, S2_Pin, RESET);
//				// blue check
//				color_flag=1;
//				HAL_TIM_IC_Start_IT(&htim3, TIM_CHANNEL_1);
//				HAL_Delay(10);
//				blue_freq=freq;
//				color_flag=0;
//				HAL_GPIO_WritePin(S3_GPIO_Port, S3_Pin, RESET);
//				HAL_GPIO_WritePin(S2_GPIO_Port, S2_Pin, RESET);
//				HAL_Delay(10);
//				red_freq=freq;
//				HAL_TIM_IC_Stop_IT(&htim3, TIM_CHANNEL_1);
				flag = 0;
				BLDC = 0;
				color_value=0;
				osDelay(200);
				color_value=color_value + Color_Sensor();
				TIM4->CCR1 = 915;
				TIM4->CCR2 = 915;
				osDelay(300);
				color_value=color_value + Color_Sensor();
				osDelay(300);
				TIM4->CCR1 = 920;
				TIM4->CCR2 = 920;
				color_value=color_value + Color_Sensor();
				if(color_value >=2){
					  yellow=1;
					  Motor.target_pos = 1820;
				}
				else{
							BLDC=2;
					}

//				if(blue==1 || red==1){
//					Motor.target_pos = 1800;
//					break;
//				}else{
//					Motor.target_pos = 890;
//					break;
//				}
			}

		}
		else if(BLDC==2 && flag==0){
			TIM4->CCR1 = 915;
			TIM4->CCR2 = 925;
			//HAL_Delay(200);
			while((HAL_GPIO_ReadPin(IR_GPIO_Port, IR_Pin)) == 1){
				TIM4->CCR1 = 920;
				TIM4->CCR2 = 920;
				osDelay(2000);
				BLDC = 0;
				yellow=2;
				Motor.target_pos = 0;
				break;
			}
		}
    osDelay(5);
  }
  /* USER CODE END DC_motor */
}

void Colorcheck(void const * argument)
{
  /* USER CODE BEGIN Colorcheck */
	Motor.my_pos = TIM5->CNT=0;
	DC_pid.KP = 0.7;
	DC_pid.KI = 0.0005;
	DC_pid.KD = 0.00003;
	Motor.target_pos=0;
  /* Infinite loop */
  for(;;)
  {
//	 if( Motor.target_pos == 890){//taget pos = 890
//		 calculatePID();
//		 motorspeed();
//		 Motor.target_pos = 890;
//		 while(DC_pid.error < 5 ){
//			 MotorStop();
//			 TIM5->CNT=89000;
//			 Motor.my_pos=890;
////			 Motor.target_pos = 0;
////			 yellow=2;
//			 break;
//		}
//	 }
	  if(yellow==2 && Motor.target_pos == 0){//target pos = 0
		 while(((HAL_GPIO_ReadPin(DOWN1_GPIO_Port, DOWN1_Pin))==0 || (HAL_GPIO_ReadPin(DOWN2_GPIO_Port, DOWN2_Pin))==0) && DC_pid.error < 100){
			 MotorStop();
//			 Motor.target_pos=0;
			 TIM5->CNT=0;
			 Motor.my_pos=0;
			 yellow=0;
			 break;
		 }
		 	 Motor.target_pos= 0;
			 calculatePID();
			 motorspeed();
	}else if(yellow==1 && Motor.target_pos == 1820){//target pos = 1800
		 while(((HAL_GPIO_ReadPin(UP1_GPIO_Port, UP1_Pin))==0 || (HAL_GPIO_ReadPin(UP2_GPIO_Port, UP2_Pin))==0) && DC_pid.error < 100){
			 MotorStop();
			 Motor.my_pos = 1820;
			 Motor.target_pos = 0;
			 TIM5->CNT = 182000;
			 yellow=0;
			 break;
		 }
		 	 Motor.target_pos = 1820;
			 calculatePID();
			 motorspeed();
	}else{
		 MotorStop();
		 yellow = 0;
	 }
    osDelay(2);
  }
  /* USER CODE END Colorcheck */
}

void StartTask05(void const * argument)
{
  /* USER CODE BEGIN StartTask05 */
	setup();
  /* Infinite loop */
  for(;;)
  {

	  if(HAL_GPIO_ReadPin(UP1_GPIO_Port, UP1_Pin)==1){
	  		  sensor_buff[4]=sensor_buff[4]|0b00000001;
	  	  }
	  	  else{
	  		  sensor_buff[4]=sensor_buff[4]&0b11111110;
	  	  }
	  	  if(HAL_GPIO_ReadPin(UP2_GPIO_Port, UP2_Pin)==1){
	  		  sensor_buff[4]=sensor_buff[4]|0b00000010;
	  	  }
	  	  else{
	  		  sensor_buff[4]=sensor_buff[4]&0b11111101;
	  	  }
	  	  if(HAL_GPIO_ReadPin(DOWN1_GPIO_Port, DOWN1_Pin)==1){
	  		  sensor_buff[4]=sensor_buff[4]|0b00000100;
	  	  }
	  	  else{
	  		  sensor_buff[4]=sensor_buff[4]&0b11111011;
	  	  }
	  	  if(HAL_GPIO_ReadPin(DOWN2_GPIO_Port, DOWN2_Pin)==1){
	  		  sensor_buff[4]=sensor_buff[4]|0b00001000;
	  	  }
	  	  else{
	  		  sensor_buff[4]=sensor_buff[4]&0b11110111;
	  	  }
	  	  if(HAL_GPIO_ReadPin(BALL1_GPIO_Port, BALL1_Pin)==1){
	  		  sensor_buff[4]=sensor_buff[4]|0b00010000;
	  	  }
	  	  else{
	  		  sensor_buff[4]=sensor_buff[4]&0b11101111;
	  	  }
	  	  if(HAL_GPIO_ReadPin(BALL2_GPIO_Port, BALL2_Pin)==1){
	  		  sensor_buff[4]=sensor_buff[4]|0b00100000;
	  	  }
	  	  else{
	  		  sensor_buff[4]=sensor_buff[4]&0b11011111;
	  	  }
	  	  if(HAL_GPIO_ReadPin(IR_GPIO_Port, IR_Pin)==1){
	  		  sensor_buff[4]=sensor_buff[4]|0b01000000;
	  	  }
	  	  else{
	  		  sensor_buff[4]=sensor_buff[4]&0b10111111;
	  	  }
	  	  sensor_buff[0]=M1.en_speed;
	  	  sensor_buff[1]=M2.en_speed;
	  	  sensor_buff[2]=M3.en_speed;
	  	  sensor_buff[3]=M4.en_speed;
	  	  loop();
    osDelay(10);
  }
  /* USER CODE END StartTask05 */
}

void HAL_TIM_PeriodElapsedCallback(TIM_HandleTypeDef *htim)
{
  if (htim->Instance == TIM1) {
    HAL_IncTick();
  }
}

void Error_Handler(void)
{
  __disable_irq();
  while (1)
  {
  }
}
